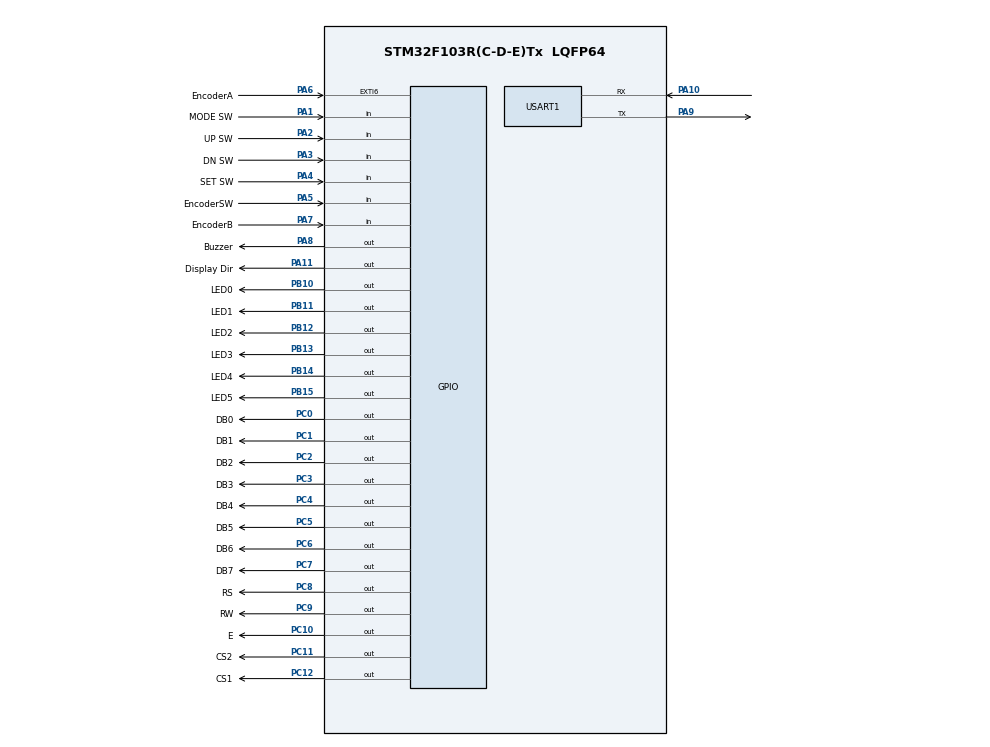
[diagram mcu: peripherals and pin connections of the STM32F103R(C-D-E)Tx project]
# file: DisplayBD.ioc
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Mcu.Family=STM32F1
Mcu.Name=STM32F103R(C-D-E)Tx
Mcu.Package=LQFP64
NVIC.EXTI9_5_IRQn=true\:0\:0\:false\:false\:true\:true\:true\:true
NVIC.PriorityGroup=NVIC_PRIORITYGROUP_4
NVIC.TIM2_IRQn=true\:0\:0\:false\:false\:true\:true\:true\:true
NVIC.USART1_IRQn=true\:0\:0\:false\:true\:true\:1\:true\:true\:true
PA1.GPIO_Label=MODE SW
PA1.Signal=GPIO_Input
PA10.Mode=Asynchronous
PA10.Signal=USART1_RX
PA11.GPIO_Label=Display Dir
PA11.Signal=GPIO_Output
PA2.GPIO_Label=UP SW
PA2.Signal=GPIO_Input
PA3.GPIO_Label=DN SW
PA3.Signal=GPIO_Input
PA4.GPIO_Label=SET SW
PA4.Signal=GPIO_Input
PA5.GPIO_Label=EncoderSW
PA5.Signal=GPIO_Input
PA6.GPIO_Label=EncoderA
PA6.Signal=GPXTI6
PA7.GPIO_Label=EncoderB
PA7.Signal=GPIO_Input
PA8.GPIO_Label=Buzzer
PA8.Signal=GPIO_Output
PA9.Mode=Asynchronous
PA9.Signal=USART1_TX
PB10.GPIO_Label=LED0
PB10.Signal=GPIO_Output
PB11.GPIO_Label=LED1
PB11.Signal=GPIO_Output
PB12.GPIO_Label=LED2
PB12.Signal=GPIO_Output
PB13.GPIO_Label=LED3
PB13.Signal=GPIO_Output
PB14.GPIO_Label=LED4
PB14.Signal=GPIO_Output
PB15.GPIO_Label=LED5
PB15.Signal=GPIO_Output
PC0.GPIO_Label=DB0
PC0.Signal=GPIO_Output
PC1.GPIO_Label=DB1
PC1.GPIO_PuPd=GPIO_PULLUP
PC1.Signal=GPIO_Output
PC10.GPIO_Label=E
PC10.GPIO_PuPd=GPIO_PULLUP
PC10.Signal=GPIO_Output
PC11.GPIO_Label=CS2
PC11.GPIO_PuPd=GPIO_PULLUP
PC11.Signal=GPIO_Output
PC12.GPIO_Label=CS1
PC12.GPIO_PuPd=GPIO_PULLUP
PC12.Signal=GPIO_Output
PC2.GPIO_Label=DB2
PC2.GPIO_PuPd=GPIO_PULLUP
PC2.Signal=GPIO_Output
PC3.GPIO_Label=DB3
PC3.GPIO_PuPd=GPIO_PULLUP
PC3.Signal=GPIO_Output
PC4.GPIO_Label=DB4
PC4.GPIO_PuPd=GPIO_PULLUP
PC4.Signal=GPIO_Output
PC5.GPIO_Label=DB5
PC5.GPIO_PuPd=GPIO_PULLUP
PC5.Signal=GPIO_Output
PC6.GPIO_Label=DB6
PC6.GPIO_PuPd=GPIO_PULLUP
PC6.Signal=GPIO_Output
PC7.GPIO_Label=DB7
PC7.GPIO_PuPd=GPIO_PULLUP
PC7.Signal=GPIO_Output
PC8.GPIO_Label=RS
PC8.GPIO_PuPd=GPIO_PULLUP
PC8.Signal=GPIO_Output
PC9.GPIO_Label=RW
PC9.GPIO_PuPd=GPIO_PULLUP
PC9.Signal=GPIO_Output
ProjectManager.HeapSize=0x200
ProjectManager.StackSize=0x400
ProjectManager.TargetToolchain=CMake
RCC.APB1Freq_Value=8000000
RCC.APB2Freq_Value=8000000
TIM2.AutoReloadPreload=TIM_AUTORELOAD_PRELOAD_ENABLE
TIM2.Period=150
TIM2.Prescaler=8999
TIM2.TIM_MasterOutputTrigger=TIM_TRGO_UPDATE
USART1.VirtualMode=VM_ASYNC
VP_SYS_VS_ND.Mode=No_Debug
VP_TIM2_VS_ClockSourceINT.Mode=Internal
board=custom

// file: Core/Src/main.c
/* USER CODE BEGIN Header */
/**
  ******************************************************************************
  * @file           : main.c
  * @brief          : Main program body
  ******************************************************************************
  * @attention
  *
  * Copyright (c) 2025 STMicroelectronics.
  * All rights reserved.
  *
  * This software is licensed under terms that can be found in the LICENSE file
  * in the root directory of this software component.
  * If no LICENSE file comes with this software, it is provided AS-IS.
  *
  ******************************************************************************
  */
/* USER CODE END Header */
#include "main.h"
#include "tim.h"
#include "usart.h"
#include "gpio.h"

/* USER CODE BEGIN Includes */
#include "glcd.h"
/* USER CODE END Includes */

/* USER CODE BEGIN PTD */
typedef unsigned char bool;
typedef unsigned char BYTE;
/* USER CODE END PTD */

/* USER CODE BEGIN PD */
#define true	1
#define	false 	0
#define TRUE	1
#define FALSE	0
/* USER CODE END PD */

void SystemClock_Config(void);
static void MX_NVIC_Init(void);

int main(void)
{

  /* USER CODE BEGIN 1 */
	unsigned char flag = 0;
	unsigned char LED_Dir = 0;
	//uint8_t satr[] = "Hello World!\r\n";
	uint8_t t = 0;
  /* USER CODE END 1 */

  /* MCU Configuration--------------------------------------------------------*/

  /* Reset of all peripherals, Initializes the Flash interface and the Systick. */
  HAL_Init();

  /* Configure the system clock */
  SystemClock_Config();

  /* Initialize all configured peripherals */
  MX_GPIO_Init();
  MX_TIM2_Init();
  MX_USART1_UART_Init();

  /* Initialize interrupts */
  MX_NVIC_Init();
  /* USER CODE BEGIN 2 */
  HAL_GPIO_WritePin(GPIOA, GPIO_PIN_11, GPIO_PIN_RESET);

  GLCD_Init();
  /* USER CODE END 2 */

  /* Infinite loop */
  while (1)
  {

    /* USER CODE BEGIN 3 */

	  GLCD_WriteData(0x30+t, 2);
	  if(t == 9) {t = 0;}
	  else { t++;}

	  if(LED_Dir)	{	GPIOC->ODR = 0xffff;	}
	  else			{	GPIOC->ODR = 0x0000;	}

	  if(LED_Dir)
	  {
		  if(flag > 4)	{	LED_Dir = 0;

		  GLCD_SetCursor(0,0);
		  }
		  else			{	flag++;			}

	  }
	  else
	  {
		  if(flag > 0)	{	flag--;			}
		  else			{	LED_Dir = 1;	}
	  }
	 HAL_Delay(50);
  }
  /* USER CODE END 3 */
}

void SystemClock_Config(void)
{
  RCC_OscInitTypeDef RCC_OscInitStruct = {0};
  RCC_ClkInitTypeDef RCC_ClkInitStruct = {0};

  /** Initializes the RCC Oscillators according to the specified parameters
  * in the RCC_OscInitTypeDef structure.
  */
  RCC_OscInitStruct.OscillatorType = RCC_OSCILLATORTYPE_HSI;
  RCC_OscInitStruct.HSIState = RCC_HSI_ON;
  RCC_OscInitStruct.HSICalibrationValue = RCC_HSICALIBRATION_DEFAULT;
  RCC_OscInitStruct.PLL.PLLState = RCC_PLL_NONE;
  if (HAL_RCC_OscConfig(&RCC_OscInitStruct) != HAL_OK)
  {
    Error_Handler();
  }

  /** Initializes the CPU, AHB and APB buses clocks
  */
  RCC_ClkInitStruct.ClockType = RCC_CLOCKTYPE_HCLK|RCC_CLOCKTYPE_SYSCLK
                              |RCC_CLOCKTYPE_PCLK1|RCC_CLOCKTYPE_PCLK2;
  RCC_ClkInitStruct.SYSCLKSource = RCC_SYSCLKSOURCE_HSI;
  RCC_ClkInitStruct.AHBCLKDivider = RCC_SYSCLK_DIV1;
  RCC_ClkInitStruct.APB1CLKDivider = RCC_HCLK_DIV1;
  RCC_ClkInitStruct.APB2CLKDivider = RCC_HCLK_DIV1;

  if (HAL_RCC_ClockConfig(&RCC_ClkInitStruct, FLASH_LATENCY_0) != HAL_OK)
  {
    Error_Handler();
  }
}

/**
  * @brief NVIC Configuration.
  * @retval None
  */
static void MX_NVIC_Init(void)
{
  /* USART1_IRQn interrupt configuration */
  HAL_NVIC_SetPriority(USART1_IRQn, 0, 0);
  HAL_NVIC_EnableIRQ(USART1_IRQn);
}

void Error_Handler(void)
{
  __disable_irq();
  while (1)
  {
  }
}
